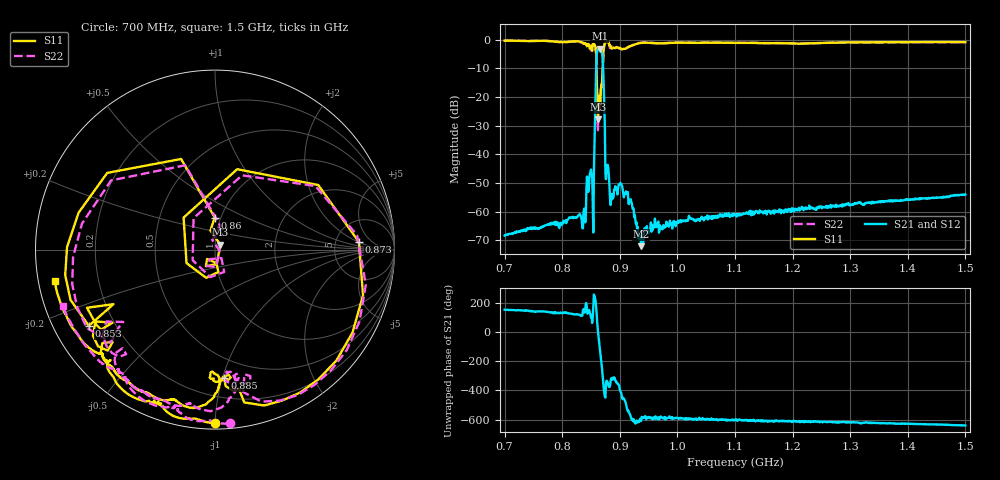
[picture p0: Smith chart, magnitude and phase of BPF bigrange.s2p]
# Hz S DB R 50
! Planar, Obzor-808, 19035835, 20.4.1/1
! Date: 08.06.2021 11:48:26
! Data: Format (Calibration Info)
! Freq	S11:dB/Ang(F2)	S41:dB/Ang(F2)	S14:dB/Ang(F2)	S44:dB/Ang(F2)
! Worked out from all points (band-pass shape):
!   801 points, 700 MHz to 1.5 GHz, reference 50 ohm
!   highest |S21| = -3.13 dB at 865 MHz (marker M1); lowest = -72.0 dB at 937 MHz (marker M2)
!   |S21| within 3 dB of the highest: 859.8 MHz to 869.9 MHz (10.14 MHz wide, 1.17 % of centre)
!   lowest |S11| = -27.8 dB at 862 MHz (marker M3), VSWR 1.09, Z = 53 + j2.95 ohm
!   |S11| at or under -10 dB: 859.5 MHz to 870.4 MHz (10.9 MHz wide, 1.26 % of centre)
!   |S22| runs from -31.5 to -0.2 dB; largest |S21 - S12| = 0.004
!   S11 on the Smith chart (normalised r, x): 700 MHz: 0.04, -1.00; 853 MHz: 0.11, -0.28; 860 MHz: 0.94, +0.34; 873 MHz: 8.64, +2.07; 885 MHz: 0.35, -1.01; 1.5 GHz: 0.05, -0.10
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7e8  -0.30 -89.8  -68.29 151.3  -68.43 151.6  -0.25 -85.2
8.34e8  -0.87 -129.6  -62.99 113.8  -63.13 113.9  -1.02 -123.6
8.37e8  -1.23 -133.8  -60.40 155.5  -60.47 156.4  -1.36 -125.5
8.46e8  -1.60 -144.8  -52.48 143.8  -52.51 144.3  -1.80 -134.9
8.53e8  -1.71 -148.9  -56.27 95.9  -56.37 96.1  -1.55 -148.6
8.56e8  -1.68 179.0  -36.05 -113.5  -36.04 -113.1  -2.03 -176.9
8.6e8  -14.98 90.4  -5.11 103.5  -5.10 103.8  -17.39 76.8
8.62e8  -27.79 42.9  -3.33 7.4  -3.32 7.7  -31.53 -14.9
8.65e8  -23.33 -130.1  -3.13 -100.0  -3.12 -99.7  -24.31 -119.2
8.69e8  -15.11 -154.6  -4.63 114.5  -4.62 114.9  -17.22 -154.5
8.73e8  -1.91 3.0  -22.23 -53.6  -22.22 -53.3  -1.99 5.8
8.76e8  -0.76 -42.4  -48.64 7.9  -48.66 8.1  -0.70 -37.3
8.79e8  -0.72 -66.0  -43.62 12.3  -43.63 12.5  -0.61 -60.4
8.85e8  -2.90 -85.8  -55.36 41.8  -55.39 41.9  -2.49 -74.9
9.02e8  -3.07 -92.1  -50.17 -52.8  -50.16 -52.4  -3.15 -84.7
9.21e8  -2.00 -89.2  -57.02 118.7  -57.06 119.1  -1.96 -81.8
9.37e8  -1.09 -96.0  -71.98 110.7  -72.12 110.6  -1.02 -89.4
9.67e8  -1.25 -105.1  -63.40 136.7  -63.39 137.6  -1.20 -99.0
1.1e9  -1.08 -124.4  -61.21 118.9  -61.29 119.7  -1.06 -117.7
1.234e9  -1.26 -138.1  -58.79 105.8  -58.88 106.9  -1.24 -129.6
1.367e9  -0.85 -153.5  -56.04 94.3  -56.11 95.6  -0.93 -145.2
1.5e9  -0.82 -168.9  -53.95 79.9  -54.06 81.4  -0.89 -159.8
